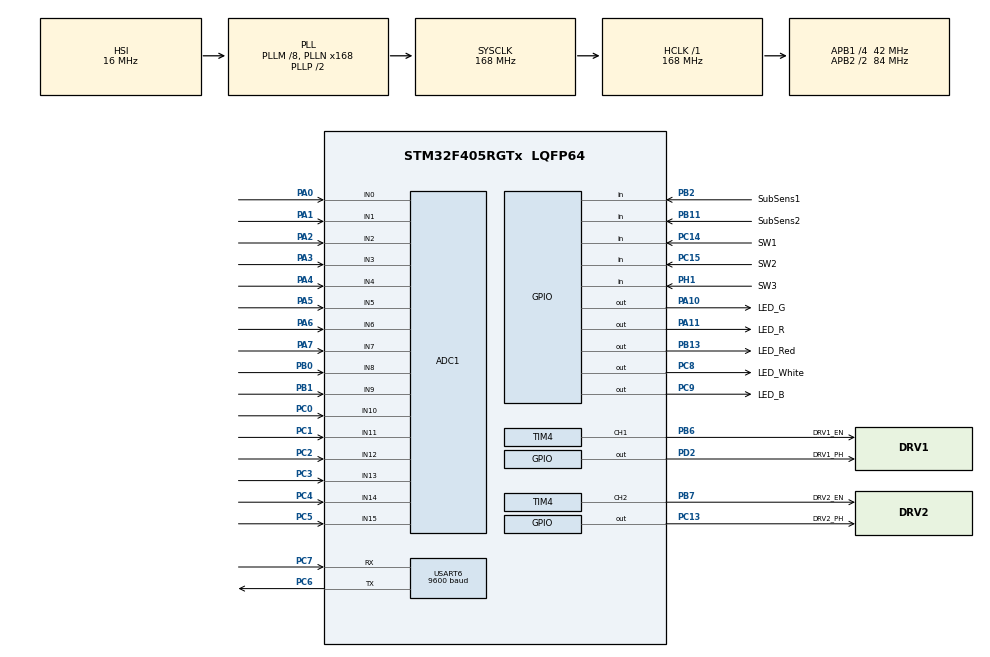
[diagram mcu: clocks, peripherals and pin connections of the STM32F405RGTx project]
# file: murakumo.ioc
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ADC1.Channel-0\#ChannelRegularConversion=ADC_CHANNEL_9
ADC1.Channel-1\#ChannelRegularConversion=ADC_CHANNEL_10
ADC1.Channel-10\#ChannelRegularConversion=ADC_CHANNEL_6
ADC1.Channel-11\#ChannelRegularConversion=ADC_CHANNEL_1
ADC1.Channel-12\#ChannelRegularConversion=ADC_CHANNEL_5
ADC1.Channel-13\#ChannelRegularConversion=ADC_CHANNEL_2
ADC1.Channel-14\#ChannelRegularConversion=ADC_CHANNEL_4
ADC1.Channel-15\#ChannelRegularConversion=ADC_CHANNEL_3
ADC1.Channel-2\#ChannelRegularConversion=ADC_CHANNEL_8
ADC1.Channel-3\#ChannelRegularConversion=ADC_CHANNEL_11
ADC1.Channel-4\#ChannelRegularConversion=ADC_CHANNEL_14
ADC1.Channel-5\#ChannelRegularConversion=ADC_CHANNEL_15
ADC1.Channel-6\#ChannelRegularConversion=ADC_CHANNEL_12
ADC1.Channel-7\#ChannelRegularConversion=ADC_CHANNEL_13
ADC1.Channel-8\#ChannelRegularConversion=ADC_CHANNEL_7
ADC1.Channel-9\#ChannelRegularConversion=ADC_CHANNEL_0
ADC1.ContinuousConvMode=ENABLE
ADC1.DMAContinuousRequests=ENABLE
ADC1.InjNumberOfConversion=0
ADC1.NbrOfConversion=16
ADC1.NbrOfConversionFlag=1
ADC1.Rank-0\#ChannelRegularConversion=1
ADC1.Rank-1\#ChannelRegularConversion=2
ADC1.Rank-10\#ChannelRegularConversion=11
ADC1.Rank-11\#ChannelRegularConversion=12
ADC1.Rank-12\#ChannelRegularConversion=13
ADC1.Rank-13\#ChannelRegularConversion=14
ADC1.Rank-14\#ChannelRegularConversion=15
ADC1.Rank-15\#ChannelRegularConversion=16
ADC1.Rank-2\#ChannelRegularConversion=3
ADC1.Rank-3\#ChannelRegularConversion=4
ADC1.Rank-4\#ChannelRegularConversion=5
ADC1.Rank-5\#ChannelRegularConversion=6
ADC1.Rank-6\#ChannelRegularConversion=7
ADC1.Rank-7\#ChannelRegularConversion=8
ADC1.Rank-8\#ChannelRegularConversion=9
ADC1.Rank-9\#ChannelRegularConversion=10
ADC1.SamplingTime-0\#ChannelRegularConversion=ADC_SAMPLETIME_56CYCLES
ADC1.SamplingTime-1\#ChannelRegularConversion=ADC_SAMPLETIME_56CYCLES
ADC1.SamplingTime-10\#ChannelRegularConversion=ADC_SAMPLETIME_56CYCLES
ADC1.SamplingTime-11\#ChannelRegularConversion=ADC_SAMPLETIME_56CYCLES
ADC1.SamplingTime-12\#ChannelRegularConversion=ADC_SAMPLETIME_56CYCLES
ADC1.SamplingTime-13\#ChannelRegularConversion=ADC_SAMPLETIME_56CYCLES
ADC1.SamplingTime-14\#ChannelRegularConversion=ADC_SAMPLETIME_56CYCLES
ADC1.SamplingTime-15\#ChannelRegularConversion=ADC_SAMPLETIME_56CYCLES
ADC1.SamplingTime-2\#ChannelRegularConversion=ADC_SAMPLETIME_56CYCLES
ADC1.SamplingTime-3\#ChannelRegularConversion=ADC_SAMPLETIME_56CYCLES
ADC1.SamplingTime-4\#ChannelRegularConversion=ADC_SAMPLETIME_56CYCLES
ADC1.SamplingTime-5\#ChannelRegularConversion=ADC_SAMPLETIME_56CYCLES
ADC1.SamplingTime-6\#ChannelRegularConversion=ADC_SAMPLETIME_56CYCLES
ADC1.SamplingTime-7\#ChannelRegularConversion=ADC_SAMPLETIME_56CYCLES
ADC1.SamplingTime-8\#ChannelRegularConversion=ADC_SAMPLETIME_56CYCLES
ADC1.SamplingTime-9\#ChannelRegularConversion=ADC_SAMPLETIME_56CYCLES
ADC1.ScanConvMode=ENABLE
ADC1.master=1
Dma.ADC1.0.Direction=DMA_PERIPH_TO_MEMORY
Dma.ADC1.0.FIFOMode=DMA_FIFOMODE_DISABLE
Dma.ADC1.0.Instance=DMA2_Stream0
Dma.ADC1.0.MemDataAlignment=DMA_MDATAALIGN_HALFWORD
Dma.ADC1.0.MemInc=DMA_MINC_ENABLE
Dma.ADC1.0.Mode=DMA_CIRCULAR
Dma.ADC1.0.PeriphDataAlignment=DMA_PDATAALIGN_HALFWORD
Dma.ADC1.0.PeriphInc=DMA_PINC_DISABLE
Dma.ADC1.0.Priority=DMA_PRIORITY_LOW
Dma.Request0=ADC1
Mcu.Family=STM32F4
Mcu.Name=STM32F405RGTx
Mcu.Package=LQFP64
NVIC.DMA2_Stream0_IRQn=true\:0\:0\:false\:false\:true\:false\:true
NVIC.PriorityGroup=NVIC_PRIORITYGROUP_4
NVIC.TIM1_TRG_COM_TIM11_IRQn=true\:0\:0\:false\:false\:true\:true\:true
NVIC.TIM1_UP_TIM10_IRQn=true\:0\:0\:false\:false\:true\:true\:true
NVIC.TIM6_DAC_IRQn=true\:0\:0\:false\:false\:true\:true\:true
NVIC.TIM7_IRQn=true\:0\:0\:false\:false\:true\:true\:true
PA0-WKUP.Signal=ADCx_IN0
PA1.Signal=ADCx_IN1
PA10.GPIO_Label=LED_G
PA10.Signal=GPIO_Output
PA11.GPIO_Label=LED_R
PA11.Signal=GPIO_Output
PA13.Mode=Serial_Wire
PA13.Signal=SYS_JTMS-SWDIO
PA14.Mode=Serial_Wire
PA14.Signal=SYS_JTCK-SWCLK
PA2.Signal=ADCx_IN2
PA3.Signal=ADCx_IN3
PA4.Signal=ADCx_IN4
PA5.Signal=ADCx_IN5
PA6.Signal=ADCx_IN6
PA7.Signal=ADCx_IN7
PB0.Signal=ADCx_IN8
PB1.Signal=ADCx_IN9
PB11.GPIO_Label=SubSens2
PB11.Signal=GPIO_Input
PB13.GPIO_Label=LED_Red
PB13.Signal=GPIO_Output
PB2.GPIO_Label=SubSens1
PB2.Signal=GPIO_Input
PB6.GPIO_Label=DRV1_EN
PB6.Signal=S_TIM4_CH1
PB7.GPIO_Label=DRV2_EN
PB7.Signal=S_TIM4_CH2
PC0.Signal=ADCx_IN10
PC1.Signal=ADCx_IN11
PC13-ANTI_TAMP.GPIO_Label=DRV2_PH
PC13-ANTI_TAMP.Signal=GPIO_Output
PC14-OSC32_IN.GPIO_Label=SW1
PC14-OSC32_IN.Signal=GPIO_Input
PC15-OSC32_OUT.GPIO_Label=SW2
PC15-OSC32_OUT.Signal=GPIO_Input
PC2.Signal=ADCx_IN12
PC3.Signal=ADCx_IN13
PC4.Signal=ADCx_IN14
PC5.Signal=ADCx_IN15
PC6.Mode=Asynchronous
PC6.Signal=USART6_TX
PC7.Mode=Asynchronous
PC7.Signal=USART6_RX
PC8.GPIO_Label=LED_White
PC8.Signal=GPIO_Output
PC9.GPIO_Label=LED_B
PC9.Signal=GPIO_Output
PD2.GPIO_Label=DRV1_PH
PD2.Signal=GPIO_Output
PH1-OSC_OUT.GPIO_Label=SW3
PH1-OSC_OUT.Signal=GPIO_Input
ProjectManager.HeapSize=0x200
ProjectManager.StackSize=0x400
ProjectManager.TargetToolchain=STM32CubeIDE
RCC.48MHZClocksFreq_Value=84000000
RCC.AHBFreq_Value=168000000
RCC.APB1CLKDivider=RCC_HCLK_DIV4
RCC.APB1Freq_Value=42000000
RCC.APB1TimFreq_Value=84000000
RCC.APB2CLKDivider=RCC_HCLK_DIV2
RCC.APB2Freq_Value=84000000
RCC.APB2TimFreq_Value=168000000
RCC.CortexFreq_Value=168000000
RCC.HCLKFreq_Value=168000000
RCC.HSE_VALUE=25000000
RCC.HSI_VALUE=16000000
RCC.LSE_VALUE=32768
RCC.PLLM=8
RCC.PLLN=168
RCC.SYSCLKFreq_VALUE=168000000
RCC.SYSCLKSource=RCC_SYSCLKSOURCE_PLLCLK
RCC.VCOOutputFreq_Value=336000000
SH.ADCx_IN0.0=ADC1_IN0,IN0
SH.ADCx_IN1.0=ADC1_IN1,IN1
SH.ADCx_IN10.0=ADC1_IN10,IN10
SH.ADCx_IN11.0=ADC1_IN11,IN11
SH.ADCx_IN12.0=ADC1_IN12,IN12
SH.ADCx_IN13.0=ADC1_IN13,IN13
SH.ADCx_IN14.0=ADC1_IN14,IN14
SH.ADCx_IN15.0=ADC1_IN15,IN15
SH.ADCx_IN2.0=ADC1_IN2,IN2
SH.ADCx_IN3.0=ADC1_IN3,IN3
SH.ADCx_IN4.0=ADC1_IN4,IN4
SH.ADCx_IN5.0=ADC1_IN5,IN5
SH.ADCx_IN6.0=ADC1_IN6,IN6
SH.ADCx_IN7.0=ADC1_IN7,IN7
SH.ADCx_IN8.0=ADC1_IN8,IN8
SH.ADCx_IN9.0=ADC1_IN9,IN9
SH.S_TIM4_CH1.0=TIM4_CH1,PWM Generation1 CH1
SH.S_TIM4_CH2.0=TIM4_CH2,PWM Generation2 CH2
TIM10.Period=55999
TIM10.Prescaler=2
TIM11.Period=55999
TIM11.Prescaler=2
TIM4.Channel-PWM\ Generation1\ CH1=TIM_CHANNEL_1
TIM4.Channel-PWM\ Generation2\ CH2=TIM_CHANNEL_2
TIM4.Period=3359
TIM6.Period=55999
TIM6.Prescaler=2
TIM7.Period=16799
USART6.BaudRate=9600
USART6.VirtualMode=VM_ASYNC
VP_TIM10_VS_ClockSourceINT.Mode=Enable_Timer
VP_TIM11_VS_ClockSourceINT.Mode=Enable_Timer
VP_TIM6_VS_ClockSourceINT.Mode=Enable_Timer
VP_TIM7_VS_ClockSourceINT.Mode=Enable_Timer
board=custom

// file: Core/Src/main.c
/* USER CODE BEGIN Header */
/**
  ******************************************************************************
  * @file           : main.c
  * @brief          : Main program body
  ******************************************************************************
  * @attention
  *
  * <h2><center>&copy; Copyright (c) 2022 STMicroelectronics.
  * All rights reserved.</center></h2>
  *
  * This software component is licensed by ST under BSD 3-Clause license,
  * the "License"; You may not use this file except in compliance with the
  * License. You may obtain a copy of the License at:
  *                        opensource.org/licenses/BSD-3-Clause
  *
  ******************************************************************************
  */
/* USER CODE END Header */
#include "main.h"

/* USER CODE BEGIN Includes */
#include "stdio.h"

/* USER CODE END Includes */

/* USER CODE BEGIN PD */
#ifdef __GNUC__
#define PUTCHAR_PROTOTYPE int __io_putchar(int ch)
#else
#define PUTCHAR_PROTOTYPE int fputc(int ch, FILE *f)
#endif

#define PLAY 1
#define SUBSENSTIM10 1
#define D_ANALOG 1
#define D_MOTOR 1
#define D_SIDESENS 1	//
#define D_SUBSENSTIM6 0	// Only Process Subsens Controll in TIM6
#define DISABLEANOTHERTIMERS 0	// Only Use TIM10
#define STEP_EXECUTION 0

#define ATTACH_LONGSENSOR 0	// use normal sensor and long sensor
#define USE_LONGSENSOR 0	// only use long sensor
#define CSV_FORMAT 1	//

/* USER CODE END PD */

/* USER CODE BEGIN PM */
#define ADC_CONVERTED_DATA_BUFFER_SIZE 16	// ADC Channel Count
#define SENSGETCOUNT 9

#define COMMONSPEED 570
#define KPL 30	// 25
#define KPR 30	// 25
#define KDL 8	// 10
#define KDR 8	// 10

#define ESC_MAG	"\x1b[35m"
#define ESC_RED "\x1b[31m"
#define ESC_YEL	"\x1b[33m"
#define ESC_GRE	"\x1b[32m"
#define ESC_CYA	"\x1b[36m"
#define ESC_BLU	"\x1b[34m"
#define ESC_DEF "\x1b[39m"

/* USER CODE END PM */

ADC_HandleTypeDef hadc1;
DMA_HandleTypeDef hdma_adc1;

TIM_HandleTypeDef htim4;
TIM_HandleTypeDef htim6;
TIM_HandleTypeDef htim7;
TIM_HandleTypeDef htim10;
TIM_HandleTypeDef htim11;

UART_HandleTypeDef huart6;

/* USER CODE BEGIN PV */
// analog
uint16_t analograw[ADC_CONVERTED_DATA_BUFFER_SIZE] = {0};	// Analog Data

#if ATTACH_LONGSENSOR	// use normal sensor and long sensor
#define CALIBRATIONSIZE 16
#else
#if USE_LONGSENSOR	// only use long sensor
#define CALIBRATIONSIZE 4
#else
#define CALIBRATIONSIZE 12
#endif
#endif

uint16_t analog[CALIBRATIONSIZE] = {0};
uint16_t analogmax[CALIBRATIONSIZE];
uint16_t analogmin[CALIBRATIONSIZE];
uint16_t analogbuffers[SENSGETCOUNT][CALIBRATIONSIZE];

uint16_t analograte[CALIBRATIONSIZE] = {0};
uint16_t analogr, analogl;	// Sum Right Analog Sensor, Sum Left Analog Sensor
int direction, beforedirection = 0;	// = analogr - analogl
unsigned char sensgettime;

unsigned char subsensbuf, marker, sidedeltacount, markerstate, rightmarkercount;

// motor
uint16_t commonspeed = COMMONSPEED;

int leftmotor = 0;
int rightmotor = 0;

// switch
uint8_t rotaryvalue = 0;

// flag
uint8_t motorenable = 0;
uint8_t analogskipflg = 1;

/* USER CODE END PV */

void SystemClock_Config(void);
static void MX_GPIO_Init(void);
static void MX_DMA_Init(void);
static void MX_ADC1_Init(void);
static void MX_USART6_UART_Init(void);
static void MX_TIM6_Init(void);
static void MX_TIM4_Init(void);
static void MX_TIM10_Init(void);
static void MX_TIM7_Init(void);
static void MX_TIM11_Init(void);
/* USER CODE BEGIN PFP */
PUTCHAR_PROTOTYPE
{
	HAL_UART_Transmit(&huart6, (uint8_t*) &ch, 1, 0xFFFF);
	return ch;
}

void HAL_ADC_ConvCpltCallback(ADC_HandleTypeDef* AdcHandle)
{
	// ADC END Program
}

uint8_t rotary_read();
void led_rgb(char r, char g, char b);

void HAL_TIM_PeriodElapsedCallback(TIM_HandleTypeDef *htim)
{
#if !DISABLEANOTHERTIMERS
	if(htim->Instance == TIM6)	// TIM6	// 2ms
	{
#if PLAY
	  // Analog Process
	  // https://github.com/YazawaKenichi/Murakumo/blob/main/circuit/cube_v2/README.md
		if(motorenable)
		{
#if !D_SUBSENSTIM6
		  analogl = 0;
		  analogr = 0;
		  for(unsigned char i = 0; i < CALIBRATIONSIZE; i++)
		  {
			uint16_t analogbuf = analog[i];
	//	    analogmax[i] = (analogmax[i] < analogbuf) ? analogbuf : analogmax[i];
	//	    analogmin[i] = (analogmin[i] > analogbuf) ? analogbuf : analogmin[i];
			if(analogmax[i] < analogbuf)
			{
				analogmax[i] = analogbuf;
			}
			if(analogmin[i] > analogbuf)
			{
				analogmin[i] = analogbuf;
			}

			analograte[i] = ((analog[i] - analogmin[i]) * 1000) / (analogmax[i] - analogmin[i]);

			if(i % 2 == 0)
			{
			  analogl += analograte[i];
			}
			else
			{
			  analogr += analograte[i];
			}
		  }
		  direction = (analogl - analogr);	// difference
		  leftmotor = commonspeed - direction / CALIBRATIONSIZE / 2 * KPL - (direction - beforedirection) * KDL;
		  rightmotor = commonspeed + direction / CALIBRATIONSIZE / 2 * KPR + (direction - beforedirection) * KDR;
		  beforedirection = direction;

		  if(leftmotor < 0)
		  {
			  HAL_GPIO_WritePin(GPIOD, GPIO_PIN_2, GPIO_PIN_SET);
			  leftmotor *= -1;
		  }
		  else
		  {
			  HAL_GPIO_WritePin(GPIOD, GPIO_PIN_2, GPIO_PIN_RESET);
		  }
		  if(rightmotor < 0)
		  {
			  HAL_GPIO_WritePin(GPIOC, GPIO_PIN_13, GPIO_PIN_RESET);
			  rightmotor *= -1;
		  }
		  else
		  {
			  HAL_GPIO_WritePin(GPIOC, GPIO_PIN_13, GPIO_PIN_SET);
		  }
		  leftmotor = leftmotor > 1000 ? 1000 : leftmotor;
		  rightmotor = rightmotor > 1000 ? 1000 : rightmotor;
		  __HAL_TIM_SET_COMPARE(&htim4, TIM_CHANNEL_1, leftmotor);
		  __HAL_TIM_SET_COMPARE(&htim4, TIM_CHANNEL_2, rightmotor);
#else
		  __HAL_TIM_SET_COMPARE(&htim4, TIM_CHANNEL_1, -COMMONSPEED);
		  __HAL_TIM_SET_COMPARE(&htim4, TIM_CHANNEL_2, COMMONSPEED);
#endif
		}
		else
		{
			  __HAL_TIM_SET_COMPARE(&htim4, TIM_CHANNEL_1, 0);
			  __HAL_TIM_SET_COMPARE(&htim4, TIM_CHANNEL_2, 0);
		}
#if !SUBSENSTIM10
		unsigned char subsens, first, second;

		subsens = !HAL_GPIO_ReadPin(GPIOB, GPIO_PIN_2) ? 1 : 0; // right
		subsens += !HAL_GPIO_ReadPin(GPIOB, GPIO_PIN_11) ? 2 : 0; // left

		if(subsens != subsensbuf)
		{
			subsensbuf = subsens;
			marker += subsens << (2 * sidedeltacount);
			if(subsens == 0b00 && sidedeltacount != 0)
			{
				first = (marker & 0b0011);
				second = (marker & 0b1100) >> 2;
				if(second == 0b00)
				{
					if(first == 0b01)
					{
						// right -> stop
						markerstate = 0b01;
						if(rightmarkercount == 0)
						{
							rightmarkercount++;
						}
						else
						{
							motorenable = 0;
						}
					}
					else if(first == 0b10)
					{
						// left -> curve
						markerstate = 0b10;
					}
					else
					{
						// cross
						markerstate = 0b11;
					}
				}
				else
				{
					// cross
					markerstate = 0b11;
				}
				sidedeltacount = 0;
				marker = 0;
				markerstate = 0;
			}
			else
			{
				sidedeltacount++;
			}
		}

#endif
#endif
	}
	if(htim->Instance == TIM7)	// TIM7 // 0.1ms
	{
	  if(sensgettime >= SENSGETCOUNT)
	  {
	  }
	  for(unsigned char index = 0; CALIBRATIONSIZE > index; index++)
	  {
	    analogbuffers[sensgettime][index] = analograw[index];
	  }
	}
#endif	// DISABLEANOTHERTIMERS
	if(htim->Instance == TIM10)	// TIM10 // 1ms
	{
#if SUBSENSTIM10
		unsigned char subsens, first, second;

		subsens = !HAL_GPIO_ReadPin(GPIOB, GPIO_PIN_2) ? 1 : 0; // right
		subsens += !HAL_GPIO_ReadPin(GPIOB, GPIO_PIN_11) ? 2 : 0; // left

		if(subsens != subsensbuf)
		{
			subsensbuf = subsens;
			marker += subsens << (2 * sidedeltacount);
			if(subsens == 0b00 && sidedeltacount != 0)
			{
				first = (marker & 0b0011);
				second = (marker & 0b1100) >> 2;
				if(second == 0b00)
				{
					if(first == 0b01)
					{
						// right -> stop
						markerstate = 0b01;
						if(rightmarkercount == 0)
						{
							rightmarkercount++;
						}
						else
						{
							motorenable = 0;
						}
					}
					else if(first == 0b10)
					{
						// left -> curve
						markerstate = 0b10;
					}
					else
					{
						// cross
						markerstate = 0b11;
					}
				}
				else
				{
					// cross
					markerstate = 0b11;
				}
				sidedeltacount = 0;
				marker = 0;
				markerstate = 0;
			}
			else
			{
				sidedeltacount++;
			}
		}

#endif
	}
#if !DISABLEANOTHERTIMERS
	if(htim->Instance == TIM11)	// TIM11 // 1ms
	{
		for(unsigned char index = 0; index < CALIBRATIONSIZE; index++)
		{
			for(unsigned char count = 0; count < SENSGETCOUNT; count++)
			{
				for(unsigned char alphaindex = 0; alphaindex > count; alphaindex--)
				{
					uint16_t analogbuffer = analogbuffers[alphaindex - 1][index];
					analogbuffers[alphaindex - 1][index] = analogbuffers[alphaindex][index];
					analogbuffers[alphaindex][index] = analogbuffer;
				}
			}
		}
		for(unsigned char i = 0; CALIBRATIONSIZE > i; i++)
		{
			analog[i] = analogbuffers[SENSGETCOUNT / 2][i];
		}
	}
	if(htim->Instance == TIM13)	// TIM13 // 1ms
	{
	}
#endif
}

/* USER CODE END PFP */

int main(void)
{

  /* MCU Configuration--------------------------------------------------------*/

  /* Reset of all peripherals, Initializes the Flash interface and the Systick. */
  HAL_Init();

  /* USER CODE BEGIN Init */
  motorenable = 0;
  subsensbuf = 0;
  marker = 0;
  sidedeltacount = 0;
  markerstate = 0;
  rightmarkercount = 0;

  for(unsigned char i = 0; CALIBRATIONSIZE > i; i++)
  {
	  analogmax[i] = 0;
	  analogmin[i] = 4096;
  }

  /* USER CODE END Init */

  /* Configure the system clock */
  SystemClock_Config();

  /* Initialize all configured peripherals */
  MX_GPIO_Init();
  MX_DMA_Init();
  MX_ADC1_Init();
  MX_USART6_UART_Init();
  MX_TIM6_Init();
  MX_TIM4_Init();
  MX_TIM10_Init();
  MX_TIM7_Init();
  MX_TIM11_Init();
  /* USER CODE BEGIN 2 */
  printf(ESC_DEF);
	printf("\r\n\r\n\r\nStarting Program...\r\n\r\n");

	printf("Push Switch ...\r\n");
	led_rgb(1, 0, 0);	// Red
	while(HAL_GPIO_ReadPin(GPIOC, GPIO_PIN_14))
	{
	  HAL_Delay(100);
	}

	printf("Starting TIM4 as PWM Generation\r\n");
	HAL_TIM_PWM_Start(&htim4, TIM_CHANNEL_1);	// 50kHz (0.02ms)
	HAL_TIM_PWM_Start(&htim4, TIM_CHANNEL_2);
	printf("Starting TIM6\r\n");
	HAL_TIM_Base_Start_IT(&htim6);	// 1ms // PID
	printf("Starting TIM7\r\n");
	HAL_TIM_Base_Start_IT(&htim7);	// 0.1ms	// SensorGet
	printf("Starting TIM10\r\n");
	HAL_TIM_Base_Start_IT(&htim10);	// 1ms	// D_Sidesensor
	printf("Starting TIM11\r\n");
	HAL_TIM_Base_Start_IT(&htim11);	// 1ms	// sensor sort

	printf("Starting Analog Read\r\n");
	if(HAL_ADC_Init(&hadc1) != HAL_OK) { Error_Handler(); }
//  if(HAL_ADCE1_Calibration_Start(&hadc1, ADC_SINGLE_ENDED) != HAL_OK) { Error_Handler(); }	// never
//	if(HAL_ADC_ConfigChannel(&hadc1, &sConfig) != HAL_OK) { Error_Handler(); }

	printf("Starting Analog DMA\r\n");
	if(HAL_ADC_Start_DMA(&hadc1, (uint32_t *) analog, ADC_CONVERTED_DATA_BUFFER_SIZE) != HAL_OK) { Error_Handler(); }

	printf("Push SW2 to Calibration...\r\n");
	led_rgb(1, 1, 0);	// Yellow
	while(HAL_GPIO_ReadPin(GPIOC, GPIO_PIN_15))
	{
		HAL_Delay(100);
	}
	printf("Push SW1 to End Calibrating...\r\n");
	// https://github.com/YazawaKenichi/Murakumo/blob/main/circuit/cube_v2/README.md
	printf(ESC_MAG);
	while(HAL_GPIO_ReadPin(GPIOC, GPIO_PIN_14))
	{
		for(unsigned char j = 0; CALIBRATIONSIZE > j; j++)
		{
			uint16_t analogbuf = analog[j];
			analogmax[j] = (analogmax[j] < analogbuf) ? analogbuf : analogmax[j];
			analogmin[j] = (analogmin[j] > analogbuf) ? analogbuf : analogmin[j];
#if D_MOTOR
			printf("[%2d] = ", j);
			printf("%4d,", analogbuf);
#endif
		}
		printf("\r\n");
	}

#if D_MOTOR
	printf(ESC_YEL);
	for(unsigned char j = 0; CALIBRATIONSIZE > j; j++)
	{
			printf("[%2d] = ", j);
			printf("%4d,", analogmax[j]);
	}
	printf("\r\n");
	printf(ESC_CYA);
	for(unsigned char j = 0; CALIBRATIONSIZE > j; j++)
	{
			printf("[%2d] = ", j);
			printf("%4d,", analogmin[j]);
	}
	printf("\r\n");
	printf(ESC_DEF);
	for(unsigned char i = 0; 5 * CALIBRATIONSIZE > i; i++)
	{
		printf("v");
	}
	printf("\r\n");
	printf(ESC_YEL);
	for(unsigned char i = 0; i < CALIBRATIONSIZE / 2; i++)
	{
	  printf("[%2d] = ", i * 2);
	  printf("%4d, ", analogmax[i * 2]);
	}
	for(unsigned char i = CALIBRATIONSIZE / 2; i > 0; i--)
	{
	  printf("[%2d] = ", i * 2 - 1);
	  printf("%4d,", analogmax[i * 2 - 1]);
	}
	printf("\r\n");
	printf(ESC_CYA);
	for(unsigned char i = 0; i < CALIBRATIONSIZE / 2; i++)
	{
	  printf("[%2d] = ", i * 2);
	  printf("%4d, ", analogmin[i * 2]);
	}
	for(unsigned char i = CALIBRATIONSIZE / 2; i > 0; i--)
	{
	  printf("[%2d] = ", i * 2 - 1);
	  printf("%4d,", analogmin[i * 2 - 1]);
	}
	printf("\r\n");
#endif
	printf(ESC_DEF);

	printf("Push SW2 to Start...\r\n");
	led_rgb(1, 1, 0);	// Yellow
	while(HAL_GPIO_ReadPin(GPIOC, GPIO_PIN_15))
	{
		HAL_Delay(100);
	}
	led_rgb(1, 1, 1);
	HAL_Delay(3000);
	motorenable = 1;
  /* USER CODE END 2 */

  /* Infinite loop */
  /* USER CODE BEGIN WHILE */
  printf("\r\n==================== while ====================\r\n");
  led_rgb(1, 1, 1);	// White
  while (1)
  {
#if D_MOTOR
#if !CSV_FORMAT
#if ATTACH_LONGSENSOR
	  // use normal sensor and long sensor
	  printf("\x1b[24C");	// Cursor move right *24
	  printf("%4d, %4d | %4d, %4d\r\n", analog[5], analog[4], analog[3], analog[2]);
	  printf("%4d, %4d, %4d, %4d, %4d, %4d | %4d, %4d, %4d, %4d, %4d, %4d\r\n", analog[9], analog[8], analog[15], analog[14], analog[7], analog[6], analog[1], analog[0], analog[13], analog[12], analog[11], analog[10]);
#else
#if !USE_LONGSENSOR
	  // only use normal sensor
	  printf("\x1b[24C");	// Cursor move right *24
	  printf(ESC_RED);
	  printf("%4d, %4d | %4d, %4d\r\n", analog[5], analog[4], analog[3], analog[2]);
	  printf(ESC_DEF);
	  printf("%4d, %4d, %4d, %4d, %4d, %4d | %4d, %4d, %4d, %4d, %4d, %4d\r\n", analog[9], analog[8], analog[15], analog[14], analog[7], analog[6], analog[1], analog[0], analog[13], analog[12], analog[11], analog[10]);
#else
	  // only use long sensor
	  printf("\x1b[24C");	// Cursor move right *24
	  printf("%4d, %4d | %4d, %4d\r\n", analog[5], analog[4], analog[3], analog[2]);
	  printf(ESC_RED);
	  printf("%4d, %4d, %4d, %4d, %4d, %4d | %4d, %4d, %4d, %4d, %4d, %4d\r\n", analog[9], analog[8], analog[15], analog[14], analog[7], analog[6], analog[1], analog[0], analog[13], analog[12], analog[11], analog[10]);
	  printf(ESC_DEF);
#endif
#endif
	  printf("\r\n");
#if D_MOTOR
	  printf(" analogl = %5d, analogr = %5d, direction = %6d\r\n", analogl, analogr, analogl - analogr);
	  printf(" MotL = ");
	  if(leftmotor < 0)
	  {
		  printf("-");
	  }
	  else
	  {
		  printf(" ");
	  }
	  printf("%5d, MotR = ", leftmotor);
	  if(rightmotor < 0)
	  {
		  printf("-");
	  }
	  else
	  {
		  printf(" ");
	  }
	  printf("%5d\r\n", rightmotor);
#endif
	  printf("\r\n");
#else
	  for(unsigned char i = 0; i < CALIBRATIONSIZE / 2; i++)
	  {
		  printf("[%2d] = ", i * 2);
		  printf("%4d,", analograte[i * 2]);
	  }
	  for(unsigned char i = CALIBRATIONSIZE / 2; i > 0; i--)
	  {
		  printf("[%2d] = ", i * 2 - 1);
		  printf("%4d,", analograte[i * 2 - 1]);
	  }
	  printf("analograte\r\n");
	  printf(ESC_CYA);
	  for(unsigned char i = 0; i < CALIBRATIONSIZE / 2; i++)
	  {
		  printf("[%2d] = ", i * 2);
		  printf("%4d,", analog[i * 2]);
	  }
	  for(unsigned char i = CALIBRATIONSIZE / 2; i > 0; i--)
	  {
		  printf("[%2d] = ", i * 2 - 1);
		  printf("%4d,", analog[i * 2 - 1]);
	  }
	  printf("analog\r\n");
	  printf(ESC_RED);
	  for(unsigned char i = 0; i < CALIBRATIONSIZE / 2; i++)
	  {
		  printf("[%2d] = ", i * 2);
		  printf("%4d,", analogmax[i * 2]);
	  }
	  for(unsigned char i = CALIBRATIONSIZE / 2; i > 0; i--)
	  {
		  printf("[%2d] = ", i * 2 - 1);
		  printf("%4d,", analogmax[i * 2 - 1]);
	  }
	  printf("analogmax\r\n");
	  printf(ESC_BLU);
	  for(unsigned char i = 0; i < CALIBRATIONSIZE / 2; i++)
	  {
		  printf("[%2d] = ", i * 2);
		  printf("%4d,", analogmin[i * 2]);
	  }
	  for(unsigned char i = CALIBRATIONSIZE / 2; i > 0; i--)
	  {
		  printf("[%2d] = ", i * 2 - 1);
		  printf("%4d,", analogmin[i * 2 - 1]);
	  }
	  printf("analogmin\r\n");
	  printf(ESC_GRE);
	  printf("leftmotor = %5d, rightmotor = %5d,", leftmotor, rightmotor);
	  printf("analogl = %5d, analogr = %5d, direction = %5d", analogl, analogr, direction);
	  printf("\r\n");
	  printf(ESC_DEF);
	  printf("\r\n");
#endif

#endif
#if D_SIDESENS
	  printf("0b%c%c%c%c%c%c%c%c\r\n", markerstate & 128 ? '1' : '0' , markerstate &  64 ? '1' : '0' , markerstate &  32 ? '1' : '0' , markerstate &  16 ? '1' : '0' , markerstate &   8 ? '1' : '0' , markerstate &   4 ? '1' : '0' , markerstate &   2 ? '1' : '0' , markerstate &   1 ? '1' : '0');
	  printf("marker = %5d, sidedeltacount = %5d\r\n", marker, sidedeltacount);
#endif
#if PLAY
#endif

	  HAL_Delay(250);

    /* USER CODE END WHILE */

  }
}

void SystemClock_Config(void)
{
  RCC_OscInitTypeDef RCC_OscInitStruct = {0};
  RCC_ClkInitTypeDef RCC_ClkInitStruct = {0};

  /** Configure the main internal regulator output voltage
  */
  __HAL_RCC_PWR_CLK_ENABLE();
  __HAL_PWR_VOLTAGESCALING_CONFIG(PWR_REGULATOR_VOLTAGE_SCALE1);
  /** Initializes the RCC Oscillators according to the specified parameters
  * in the RCC_OscInitTypeDef structure.
  */
  RCC_OscInitStruct.OscillatorType = RCC_OSCILLATORTYPE_HSI;
  RCC_OscInitStruct.HSIState = RCC_HSI_ON;
  RCC_OscInitStruct.HSICalibrationValue = RCC_HSICALIBRATION_DEFAULT;
  RCC_OscInitStruct.PLL.PLLState = RCC_PLL_ON;
  RCC_OscInitStruct.PLL.PLLSource = RCC_PLLSOURCE_HSI;
  RCC_OscInitStruct.PLL.PLLM = 8;
  RCC_OscInitStruct.PLL.PLLN = 168;
  RCC_OscInitStruct.PLL.PLLP = RCC_PLLP_DIV2;
  RCC_OscInitStruct.PLL.PLLQ = 4;
  if (HAL_RCC_OscConfig(&RCC_OscInitStruct) != HAL_OK)
  {
    Error_Handler();
  }
  /** Initializes the CPU, AHB and APB buses clocks
  */
  RCC_ClkInitStruct.ClockType = RCC_CLOCKTYPE_HCLK|RCC_CLOCKTYPE_SYSCLK
                              |RCC_CLOCKTYPE_PCLK1|RCC_CLOCKTYPE_PCLK2;
  RCC_ClkInitStruct.SYSCLKSource = RCC_SYSCLKSOURCE_PLLCLK;
  RCC_ClkInitStruct.AHBCLKDivider = RCC_SYSCLK_DIV1;
  RCC_ClkInitStruct.APB1CLKDivider = RCC_HCLK_DIV4;
  RCC_ClkInitStruct.APB2CLKDivider = RCC_HCLK_DIV2;

  if (HAL_RCC_ClockConfig(&RCC_ClkInitStruct, FLASH_LATENCY_5) != HAL_OK)
  {
    Error_Handler();
  }
}

static void MX_ADC1_Init(void)
{

  ADC_ChannelConfTypeDef sConfig = {0};

  /** Configure the global features of the ADC (Clock, Resolution, Data Alignment and number of conversion)
  */
  hadc1.Instance = ADC1;
  hadc1.Init.ClockPrescaler = ADC_CLOCK_SYNC_PCLK_DIV4;
  hadc1.Init.Resolution = ADC_RESOLUTION_12B;
  hadc1.Init.ScanConvMode = ENABLE;
  hadc1.Init.ContinuousConvMode = ENABLE;
  hadc1.Init.DiscontinuousConvMode = DISABLE;
  hadc1.Init.ExternalTrigConvEdge = ADC_EXTERNALTRIGCONVEDGE_NONE;
  hadc1.Init.ExternalTrigConv = ADC_SOFTWARE_START;
  hadc1.Init.DataAlign = ADC_DATAALIGN_RIGHT;
  hadc1.Init.NbrOfConversion = 16;
  hadc1.Init.DMAContinuousRequests = ENABLE;
  hadc1.Init.EOCSelection = ADC_EOC_SINGLE_CONV;
  if (HAL_ADC_Init(&hadc1) != HAL_OK)
  {
    Error_Handler();
  }
  /** Configure for the selected ADC regular channel its corresponding rank in the sequencer and its sample time.
  */
  sConfig.Channel = ADC_CHANNEL_9;
  sConfig.Rank = 1;
  sConfig.SamplingTime = ADC_SAMPLETIME_56CYCLES;
  if (HAL_ADC_ConfigChannel(&hadc1, &sConfig) != HAL_OK)
  {
    Error_Handler();
  }
  /** Configure for the selected ADC regular channel its corresponding rank in the sequencer and its sample time.
  */
  sConfig.Channel = ADC_CHANNEL_10;
  sConfig.Rank = 2;
  if (HAL_ADC_ConfigChannel(&hadc1, &sConfig) != HAL_OK)
  {
    Error_Handler();
  }
  /** Configure for the selected ADC regular channel its corresponding rank in the sequencer and its sample time.
  */
  sConfig.Channel = ADC_CHANNEL_8;
  sConfig.Rank = 3;
  if (HAL_ADC_ConfigChannel(&hadc1, &sConfig) != HAL_OK)
  {
    Error_Handler();
  }
  /** Configure for the selected ADC regular channel its corresponding rank in the sequencer and its sample time.
  */
  sConfig.Channel = ADC_CHANNEL_11;
  sConfig.Rank = 4;
  if (HAL_ADC_ConfigChannel(&hadc1, &sConfig) != HAL_OK)
  {
    Error_Handler();
  }
  /** Configure for the selected ADC regular channel its corresponding rank in the sequencer and its sample time.
  */
  sConfig.Channel = ADC_CHANNEL_14;
  sConfig.Rank = 5;
  if (HAL_ADC_ConfigChannel(&hadc1, &sConfig) != HAL_OK)
  {
    Error_Handler();
  }
  /** Configure for the selected ADC regular channel its corresponding rank in the sequencer and its sample time.
  */
  sConfig.Channel = ADC_CHANNEL_15;
  sConfig.Rank = 6;
  if (HAL_ADC_ConfigChannel(&hadc1, &sConfig) != HAL_OK)
  {
    Error_Handler();
  }
  /** Configure for the selected ADC regular channel its corresponding rank in the sequencer and its sample time.
  */
  sConfig.Channel = ADC_CHANNEL_12;
  sConfig.Rank = 7;
  if (HAL_ADC_ConfigChannel(&hadc1, &sConfig) != HAL_OK)
  {
    Error_Handler();
  }
  /** Configure for the selected ADC regular channel its corresponding rank in the sequencer and its sample time.
  */
  sConfig.Channel = ADC_CHANNEL_13;
  sConfig.Rank = 8;
  if (HAL_ADC_ConfigChannel(&hadc1, &sConfig) != HAL_OK)
  {
    Error_Handler();
  }
  /** Configure for the selected ADC regular channel its corresponding rank in the sequencer and its sample time.
  */
  sConfig.Channel = ADC_CHANNEL_7;
  sConfig.Rank = 9;
  if (HAL_ADC_ConfigChannel(&hadc1, &sConfig) != HAL_OK)
  {
    Error_Handler();
  }
  /** Configure for the selected ADC regular channel its corresponding rank in the sequencer and its sample time.
  */
  sConfig.Channel = ADC_CHANNEL_0;
  sConfig.Rank = 10;
  if (HAL_ADC_ConfigChannel(&hadc1, &sConfig) != HAL_OK)
  {
    Error_Handler();
  }
  /** Configure for the selected ADC regular channel its corresponding rank in the sequencer and its sample time.
  */
  sConfig.Channel = ADC_CHANNEL_6;
  sConfig.Rank = 11;
  if (HAL_ADC_ConfigChannel(&hadc1, &sConfig) != HAL_OK)
  {
    Error_Handler();
  }
  /** Configure for the selected ADC regular channel its corresponding rank in the sequencer and its sample time.
  */
  sConfig.Channel = ADC_CHANNEL_1;
  sConfig.Rank = 12;
  if (HAL_ADC_ConfigChannel(&hadc1, &sConfig) != HAL_OK)
  {
    Error_Handler();
  }
  /** Configure for the selected ADC regular channel its corresponding rank in the sequencer and its sample time.
  */
  sConfig.Channel = ADC_CHANNEL_5;
  sConfig.Rank = 13;
  if (HAL_ADC_ConfigChannel(&hadc1, &sConfig) != HAL_OK)
  {
    Error_Handler();
  }
  /** Configure for the selected ADC regular channel its corresponding rank in the sequencer and its sample time.
  */
  sConfig.Channel = ADC_CHANNEL_2;
  sConfig.Rank = 14;
  if (HAL_ADC_ConfigChannel(&hadc1, &sConfig) != HAL_OK)
  {
    Error_Handler();
  }
  /** Configure for the selected ADC regular channel its corresponding rank in the sequencer and its sample time.
  */
  sConfig.Channel = ADC_CHANNEL_4;
  sConfig.Rank = 15;
  if (HAL_ADC_ConfigChannel(&hadc1, &sConfig) != HAL_OK)
  {
    Error_Handler();
  }
  /** Configure for the selected ADC regular channel its corresponding rank in the sequencer and its sample time.
  */
  sConfig.Channel = ADC_CHANNEL_3;
  sConfig.Rank = 16;
  if (HAL_ADC_ConfigChannel(&hadc1, &sConfig) != HAL_OK)
  {
    Error_Handler();
  }

}

static void MX_TIM4_Init(void)
{

  TIM_MasterConfigTypeDef sMasterConfig = {0};
  TIM_OC_InitTypeDef sConfigOC = {0};

  htim4.Instance = TIM4;
  htim4.Init.Prescaler = 0;
  htim4.Init.CounterMode = TIM_COUNTERMODE_UP;
  htim4.Init.Period = 3359;
  htim4.Init.ClockDivision = TIM_CLOCKDIVISION_DIV1;
  htim4.Init.AutoReloadPreload = TIM_AUTORELOAD_PRELOAD_DISABLE;
  if (HAL_TIM_PWM_Init(&htim4) != HAL_OK)
  {
    Error_Handler();
  }
  sMasterConfig.MasterOutputTrigger = TIM_TRGO_RESET;
  sMasterConfig.MasterSlaveMode = TIM_MASTERSLAVEMODE_DISABLE;
  if (HAL_TIMEx_MasterConfigSynchronization(&htim4, &sMasterConfig) != HAL_OK)
  {
    Error_Handler();
  }
  sConfigOC.OCMode = TIM_OCMODE_PWM1;
  sConfigOC.Pulse = 0;
  sConfigOC.OCPolarity = TIM_OCPOLARITY_HIGH;
  sConfigOC.OCFastMode = TIM_OCFAST_DISABLE;
  if (HAL_TIM_PWM_ConfigChannel(&htim4, &sConfigOC, TIM_CHANNEL_1) != HAL_OK)
  {
    Error_Handler();
  }
  if (HAL_TIM_PWM_ConfigChannel(&htim4, &sConfigOC, TIM_CHANNEL_2) != HAL_OK)
  {
    Error_Handler();
  }
  HAL_TIM_MspPostInit(&htim4);

}

static void MX_TIM6_Init(void)
{

  TIM_MasterConfigTypeDef sMasterConfig = {0};

  htim6.Instance = TIM6;
  htim6.Init.Prescaler = 2;
  htim6.Init.CounterMode = TIM_COUNTERMODE_UP;
  htim6.Init.Period = 55999;
  htim6.Init.AutoReloadPreload = TIM_AUTORELOAD_PRELOAD_DISABLE;
  if (HAL_TIM_Base_Init(&htim6) != HAL_OK)
  {
    Error_Handler();
  }
  sMasterConfig.MasterOutputTrigger = TIM_TRGO_RESET;
  sMasterConfig.MasterSlaveMode = TIM_MASTERSLAVEMODE_DISABLE;
  if (HAL_TIMEx_MasterConfigSynchronization(&htim6, &sMasterConfig) != HAL_OK)
  {
    Error_Handler();
  }

}

static void MX_TIM7_Init(void)
{

  TIM_MasterConfigTypeDef sMasterConfig = {0};

  htim7.Instance = TIM7;
  htim7.Init.Prescaler = 0;
  htim7.Init.CounterMode = TIM_COUNTERMODE_UP;
  htim7.Init.Period = 16799;
  htim7.Init.AutoReloadPreload = TIM_AUTORELOAD_PRELOAD_DISABLE;
  if (HAL_TIM_Base_Init(&htim7) != HAL_OK)
  {
    Error_Handler();
  }
  sMasterConfig.MasterOutputTrigger = TIM_TRGO_RESET;
  sMasterConfig.MasterSlaveMode = TIM_MASTERSLAVEMODE_DISABLE;
  if (HAL_TIMEx_MasterConfigSynchronization(&htim7, &sMasterConfig) != HAL_OK)
  {
    Error_Handler();
  }

}

static void MX_TIM10_Init(void)
{

  htim10.Instance = TIM10;
  htim10.Init.Prescaler = 2;
  htim10.Init.CounterMode = TIM_COUNTERMODE_UP;
  htim10.Init.Period = 55999;
  htim10.Init.ClockDivision = TIM_CLOCKDIVISION_DIV1;
  htim10.Init.AutoReloadPreload = TIM_AUTORELOAD_PRELOAD_DISABLE;
  if (HAL_TIM_Base_Init(&htim10) != HAL_OK)
  {
    Error_Handler();
  }

}

static void MX_TIM11_Init(void)
{

  htim11.Instance = TIM11;
  htim11.Init.Prescaler = 2;
  htim11.Init.CounterMode = TIM_COUNTERMODE_UP;
  htim11.Init.Period = 55999;
  htim11.Init.ClockDivision = TIM_CLOCKDIVISION_DIV1;
  htim11.Init.AutoReloadPreload = TIM_AUTORELOAD_PRELOAD_DISABLE;
  if (HAL_TIM_Base_Init(&htim11) != HAL_OK)
  {
    Error_Handler();
  }

}

static void MX_USART6_UART_Init(void)
{

  huart6.Instance = USART6;
  huart6.Init.BaudRate = 9600;
  huart6.Init.WordLength = UART_WORDLENGTH_8B;
  huart6.Init.StopBits = UART_STOPBITS_1;
  huart6.Init.Parity = UART_PARITY_NONE;
  huart6.Init.Mode = UART_MODE_TX_RX;
  huart6.Init.HwFlowCtl = UART_HWCONTROL_NONE;
  huart6.Init.OverSampling = UART_OVERSAMPLING_16;
  if (HAL_UART_Init(&huart6) != HAL_OK)
  {
    Error_Handler();
  }

}

static void MX_DMA_Init(void)
{

  /* DMA controller clock enable */
  __HAL_RCC_DMA2_CLK_ENABLE();

  /* DMA interrupt init */
  /* DMA2_Stream0_IRQn interrupt configuration */
  HAL_NVIC_SetPriority(DMA2_Stream0_IRQn, 0, 0);
  HAL_NVIC_EnableIRQ(DMA2_Stream0_IRQn);

}

static void MX_GPIO_Init(void)
{
  GPIO_InitTypeDef GPIO_InitStruct = {0};

  /* GPIO Ports Clock Enable */
  __HAL_RCC_GPIOC_CLK_ENABLE();
  __HAL_RCC_GPIOH_CLK_ENABLE();
  __HAL_RCC_GPIOA_CLK_ENABLE();
  __HAL_RCC_GPIOB_CLK_ENABLE();
  __HAL_RCC_GPIOD_CLK_ENABLE();

  /*Configure GPIO pin Output Level */
  HAL_GPIO_WritePin(GPIOC, DRV2_PH_Pin|LED_White_Pin|LED_B_Pin, GPIO_PIN_RESET);

  /*Configure GPIO pin Output Level */
  HAL_GPIO_WritePin(LED_Red_GPIO_Port, LED_Red_Pin, GPIO_PIN_RESET);

  /*Configure GPIO pin Output Level */
  HAL_GPIO_WritePin(GPIOA, LED_G_Pin|LED_R_Pin, GPIO_PIN_RESET);

  /*Configure GPIO pin Output Level */
  HAL_GPIO_WritePin(DRV1_PH_GPIO_Port, DRV1_PH_Pin, GPIO_PIN_RESET);

  /*Configure GPIO pins : DRV2_PH_Pin LED_White_Pin LED_B_Pin */
  GPIO_InitStruct.Pin = DRV2_PH_Pin|LED_White_Pin|LED_B_Pin;
  GPIO_InitStruct.Mode = GPIO_MODE_OUTPUT_PP;
  GPIO_InitStruct.Pull = GPIO_NOPULL;
  GPIO_InitStruct.Speed = GPIO_SPEED_FREQ_LOW;
  HAL_GPIO_Init(GPIOC, &GPIO_InitStruct);

  /*Configure GPIO pins : SW1_Pin SW2_Pin */
  GPIO_InitStruct.Pin = SW1_Pin|SW2_Pin;
  GPIO_InitStruct.Mode = GPIO_MODE_INPUT;
  GPIO_InitStruct.Pull = GPIO_NOPULL;
  HAL_GPIO_Init(GPIOC, &GPIO_InitStruct);

  /*Configure GPIO pin : SW3_Pin */
  GPIO_InitStruct.Pin = SW3_Pin;
  GPIO_InitStruct.Mode = GPIO_MODE_INPUT;
  GPIO_InitStruct.Pull = GPIO_NOPULL;
  HAL_GPIO_Init(SW3_GPIO_Port, &GPIO_InitStruct);

  /*Configure GPIO pins : SubSens1_Pin SubSens2_Pin */
  GPIO_InitStruct.Pin = SubSens1_Pin|SubSens2_Pin;
  GPIO_InitStruct.Mode = GPIO_MODE_INPUT;
  GPIO_InitStruct.Pull = GPIO_NOPULL;
  HAL_GPIO_Init(GPIOB, &GPIO_InitStruct);

  /*Configure GPIO pin : LED_Red_Pin */
  GPIO_InitStruct.Pin = LED_Red_Pin;
  GPIO_InitStruct.Mode = GPIO_MODE_OUTPUT_PP;
  GPIO_InitStruct.Pull = GPIO_NOPULL;
  GPIO_InitStruct.Speed = GPIO_SPEED_FREQ_LOW;
  HAL_GPIO_Init(LED_Red_GPIO_Port, &GPIO_InitStruct);

  /*Configure GPIO pins : LED_G_Pin LED_R_Pin */
  GPIO_InitStruct.Pin = LED_G_Pin|LED_R_Pin;
  GPIO_InitStruct.Mode = GPIO_MODE_OUTPUT_PP;
  GPIO_InitStruct.Pull = GPIO_NOPULL;
  GPIO_InitStruct.Speed = GPIO_SPEED_FREQ_LOW;
  HAL_GPIO_Init(GPIOA, &GPIO_InitStruct);

  /*Configure GPIO pin : DRV1_PH_Pin */
  GPIO_InitStruct.Pin = DRV1_PH_Pin;
  GPIO_InitStruct.Mode = GPIO_MODE_OUTPUT_PP;
  GPIO_InitStruct.Pull = GPIO_NOPULL;
  GPIO_InitStruct.Speed = GPIO_SPEED_FREQ_LOW;
  HAL_GPIO_Init(DRV1_PH_GPIO_Port, &GPIO_InitStruct);

}

/* USER CODE BEGIN 4 */

uint8_t rotary_read()
{
	uint8_t _rotaryvalue = 0;
	_rotaryvalue += (HAL_GPIO_ReadPin(GPIOC, GPIO_PIN_12)) ? 0 : 1;	// Rotary1
	_rotaryvalue += (HAL_GPIO_ReadPin(GPIOC, GPIO_PIN_10)) ? 0 : 1;	// Rotary2
	_rotaryvalue += (HAL_GPIO_ReadPin(GPIOA, GPIO_PIN_12)) ? 0 : 1;	// Rotary4
	_rotaryvalue += (HAL_GPIO_ReadPin(GPIOC, GPIO_PIN_11)) ? 0 : 1;	// Rotary8
	return _rotaryvalue;
}

void led_rgb(char r, char g, char b)
{
	  HAL_GPIO_WritePin(GPIOA, GPIO_PIN_11, (r) ? GPIO_PIN_RESET : GPIO_PIN_SET);	// LED_R ON
	  HAL_GPIO_WritePin(GPIOA, GPIO_PIN_10, (g) ? GPIO_PIN_RESET : GPIO_PIN_SET);	// LED_G ON
	  HAL_GPIO_WritePin(GPIOC, GPIO_PIN_9, (b) ? GPIO_PIN_RESET : GPIO_PIN_SET);	// LED_B ON
}

/* USER CODE END 4 */

void Error_Handler(void)
{
  __disable_irq();
  while (1)
  {
  }
}

/************************ (C) COPYRIGHT STMicroelectronics *****END OF FILE****/
